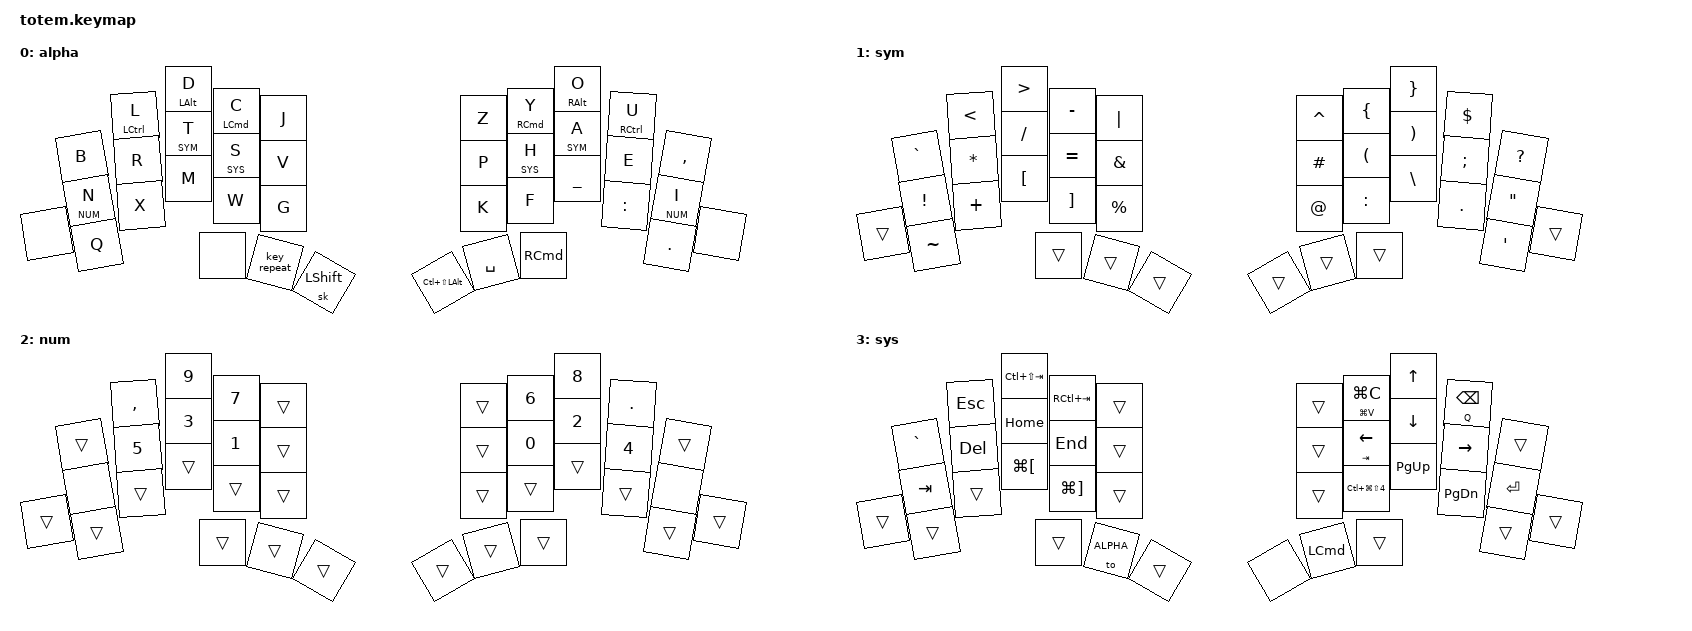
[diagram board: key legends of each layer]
#include <behaviors.dtsi>
#include <dt-bindings/zmk/keys.h>

&mt {
  tapping-term-ms = <201>;
  flavor = "tap-preferred";
};
&sk {
  release-after-ms = <2000>;
  quick-release;
};

#define ALPHA 0
#define SYM 1
#define NUM 2
#define SYS 3

/ {

  //  0  1  2  3  4   5  6  7  8  9
  // 10 11 12 13 14  15 16 17 18 19
  // 20 21 22 23 24  25 26 27 28 29
  // 30 xx 31 32 33  34 35 36 xx 37
  combos {
    compatible = "zmk,combos";
    combo_sys {
      timeout-ms = <30>;
      key-positions = <6 7 8>;
      bindings = <&to SYS>;
    };
    combo_caps {
      timeout-ms = <30>;
      key-positions = <16 17 18>;
      bindings = <&caps_word>;
    };
  };

  behaviors {
    hm_l: homerow_mods_left {
      compatible = "zmk,behavior-hold-tap";
      label = "HOMEROW_MODS_L";
      #binding-cells = <2>;
      tapping-term-ms = <300>;
      quick-tap-ms = <250>;
      flavor = "tap-preferred";
      bindings = <&kp>, <&kp>;
    };
    hm_r: homerow_mods_right {
      compatible = "zmk,behavior-hold-tap";
      label = "HOMEROW_MODS_R";
      #binding-cells = <2>;
      tapping-term-ms = <300>;
      quick-tap-ms = <250>;
      flavor = "tap-preferred";
      bindings = <&kp>, <&kp>;
    };
    hl_l: homerow_layers_left {
      compatible = "zmk,behavior-hold-tap";
      label = "HOMEROW_LAYERS_L";
      #binding-cells = <2>;
      tapping-term-ms = <220>;
      quick-tap-ms = <250>;
      flavor = "tap-preferred";
      bindings = <&mo>, <&kp>;
    };
    hl_r: homerow_layers_right {
      compatible = "zmk,behavior-hold-tap";
      label = "HOMEROW_LAYERS_R";
      #binding-cells = <2>;
      tapping-term-ms = <220>;
      quick-tap-ms = <250>;
      flavor = "tap-preferred";
      bindings = <&mo>, <&kp>;
    };
    td: tapdance {
      compatible = "zmk,behavior-hold-tap";
      label = "TAPDANCE";
      #binding-cells = <2>;
      tapping-term-ms = <190>;
      quick-tap-ms = <250>;
      flavor = "tap-preferred";
      bindings = <&kp>, <&kp>;
    };
  };

  keymap {
    compatible = "zmk,keymap";
    alpha {
      bindings = <
        &kp B &hm_l LCTRL L &hm_l LALT D &hm_l LCMD C &kp J &kp Z &hm_r RCMD Y &hm_r RALT O &hm_r RCTRL U &kp COMMA
        &hl_l NUM N &kp R &hl_l SYM T &hl_l SYS S &kp V &kp P &hl_r SYS H &hl_r SYM A &kp E &hl_r NUM I
        &kp Q &kp X &kp M &kp W &kp G &kp K &kp F &kp UNDER &kp COLON &kp DOT
        &none &none &key_repeat &sk LSHFT &kp LC(LS(LALT)) &kp SPACE &kp RCMD &none
      >;
    };
    sym {
      bindings = <
        &kp GRAVE &kp LT &kp GT &kp MINUS &kp PIPE &kp CARET &kp LBRC &kp RBRC &kp DOLLAR &kp QMARK
        &kp EXCL &kp ASTRK &kp SLASH &kp EQUAL &kp AMPS &kp HASH &kp LPAR &kp RPAR &kp SEMI &kp DQT
        &kp TILDE &kp PLUS &kp LBKT &kp RBKT &kp PERCENT &kp AT &kp COLON &kp BACKSLASH &kp DOT &kp SQT
        &trans &trans &trans &trans &trans &trans &trans &trans
      >;
    };
    num {
      bindings = <
        &trans &kp COMMA &kp N9 &kp N7 &trans &trans &kp N6 &kp N8 &kp DOT &trans
        &none &kp N5 &kp N3 &kp N1 &trans &trans &kp N0 &kp N2 &kp N4 &none
        &trans &trans &trans &trans &trans &trans &trans &trans &trans &trans
        &trans &trans &trans &trans &trans &trans &trans &trans
      >;
    };
    sys {
      bindings = <
        &kp GRAVE &kp ESC &kp LC(LS(TAB)) &kp RC(TAB) &trans &trans &td LG(V) LG(C) &kp UP &td Q BSPC &trans
        &kp TAB &kp DEL &kp HOME &kp END &trans &trans &td TAB LEFT &kp DOWN &kp RIGHT &kp ENTER
        &trans &trans &kp LG(LBKT) &kp LG(RBKT) &trans &trans &kp LC(LG(LS(N4))) &kp PG_UP &kp PG_DN &trans
        &trans &trans &to ALPHA &trans &none &kp LCMD &trans &trans
      >;
    };
  };
};
